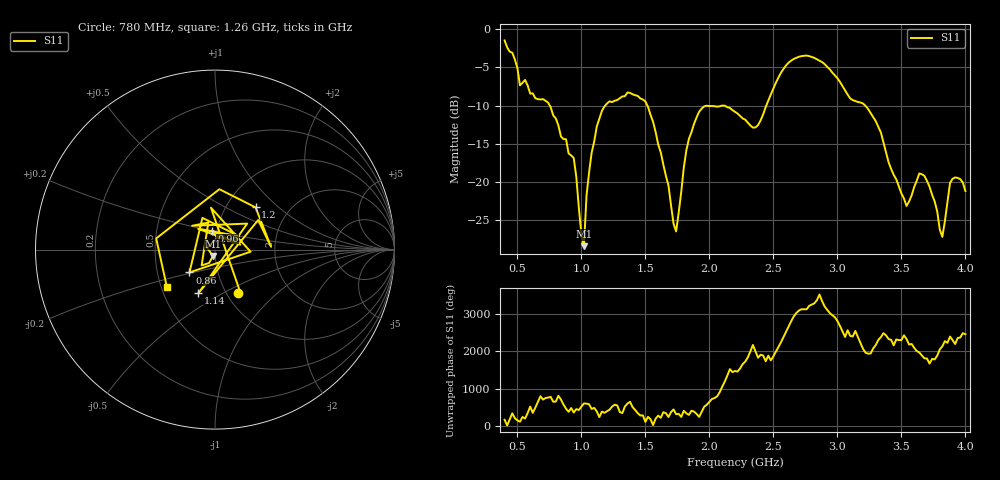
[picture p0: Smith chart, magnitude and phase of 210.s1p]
!Created with skrf (http://scikit-rf.org).
# Hz S RI R 50.0
!freq ReS11 ImS11
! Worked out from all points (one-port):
!   181 points, 400 MHz to 4 GHz, reference 50 ohm
!   lowest |S11| = -28.4 dB at 1.02 GHz (marker M1), VSWR 1.08, Z = 48.8 - j3.54 ohm
!   |S11| at or under -10 dB: 753 MHz to 1.186 GHz (432.9 MHz wide, 44.7 % of centre); 1.516 GHz to 2.099 GHz (583.5 MHz wide, 32.3 % of centre); 3.218 GHz to end of sweep (the widest 3 of 4)
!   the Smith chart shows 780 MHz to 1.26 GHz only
!   S11 on the Smith chart (normalised r, x): 780 MHz: 1.13, -0.59; 860 MHz: 0.73, -0.19; 960 MHz: 0.94, +0.20; 1.14 GHz: 0.74, -0.39; 1.2 GHz: 1.37, +0.72; 1.26 GHz: 0.54, -0.25
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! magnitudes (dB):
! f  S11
! 400 MHz  -1.5
! 520 MHz  -7.4
! 780 MHz  -11.3
! 860 MHz  -14.4
! 960 MHz  -19.3
! 1.02 GHz  -28.4
! 1.06 GHz  -18.8
! 1.14 GHz  -11.7
! 1.2 GHz  -9.7
! 1.26 GHz  -9.4
! 1.3 GHz  -9.0
! 1.5 GHz  -9.5
! 1.68 GHz  -20.5
! 1.72 GHz  -25.5
! 1.76 GHz  -24.0
! 1.82 GHz  -15.9
! 1.92 GHz  -10.8
! 2.2 GHz  -10.8
! 2.38 GHz  -12.6
! 2.66 GHz  -3.9
! 2.88 GHz  -4.3
! 3.1 GHz  -9.1
! 3.3 GHz  -12.1
! 3.56 GHz  -22.6
! 3.68 GHz  -19.2
! 3.82 GHz  -27.2
! 3.88 GHz  -20.1
! 4 GHz  -21.2
